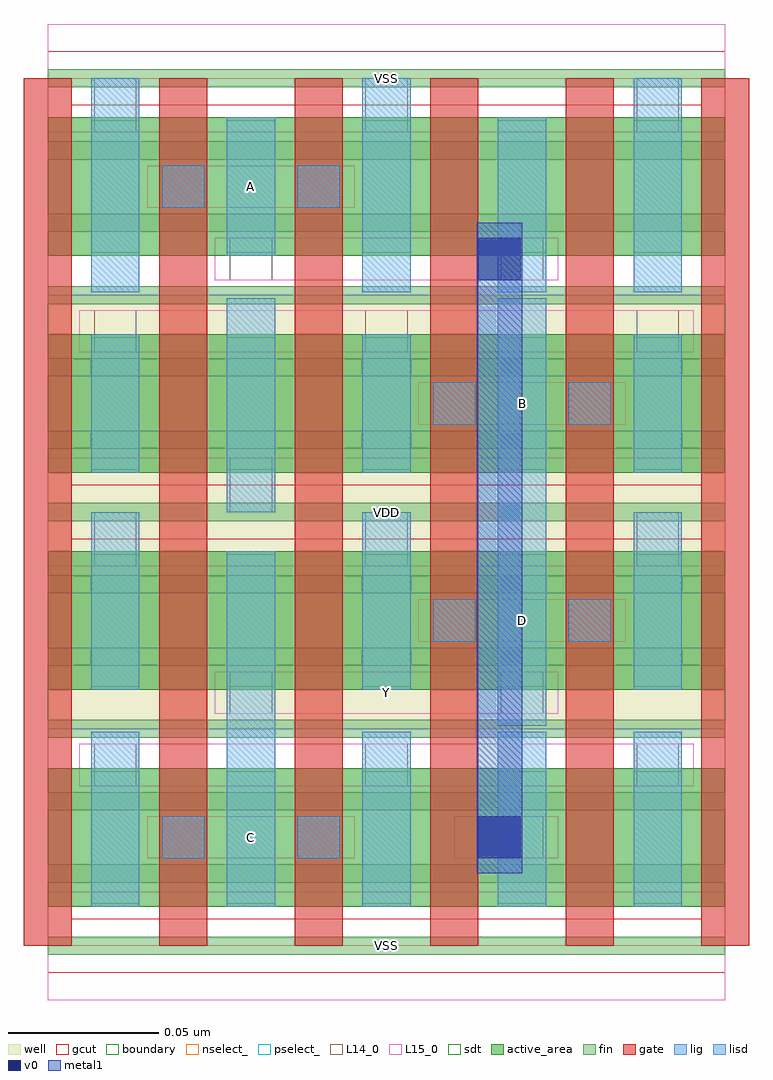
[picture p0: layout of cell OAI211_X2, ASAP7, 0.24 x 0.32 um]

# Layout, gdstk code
import gdstk
lib = gdstk.Library(unit=1e-6, precision=2.5e-10)
def R(c, l, rs):  # rectangles x0, y0, x1, y1
    for r in rs: c.add(gdstk.rectangle(r[:2], r[2:], *l))
def A(c, l, x, y, w, h, nx, ny, dx, dy):  # array of equal rectangles
    R(c, l, [(x+i*dx, y+j*dy, x+i*dx+w, y+j*dy+h) for i in range(nx) for j in range(ny)])
def P(c, l, *ps):  # polygons
    for p in ps: c.add(gdstk.Polygon(p, *l))
well = (1, 0)
fin = (2, 0)
gate = (7, 0)
gcut = (10, 0)
active_area = (11, 0)
nselect_ = (12, 0)
pselect_ = (13, 0)
L14_0 = (14, 0)
L15_0 = (15, 0)
lig = (16, 0)
lisd = (17, 0)
v0 = (18, 0)
metal1 = (19, 0)
sdt = (88, 0)
boundary = (100, 0)

oai211_x2 = lib.new_cell('OAI211_X2')
R(oai211_x2, well, [(0,0.072,0.225,0.144), (0,0.144,0.225,0.216)])
A(oai211_x2, fin, 0, -0.003, 0.225, 0.006, 1, 13, 0, 0.024)
A(oai211_x2, gate, -0.008, 0, 0.016, 0.288, 6, 1, 0.045, 0)
P(oai211_x2, gcut, [(0,-0.009),(0,0),(-0.008,0),(-0.008,0.135),(0.008,0.135),(0.008,0.009),(0.217,0.009),(0.217,0.135),(-0.008,0.135),(-0.008,0.279),(0.008,0.279),(0.008,0.153),(0.217,0.153),(0.217,0.279),(-0.008,0.279),(-0.008,0.288),(0,0.288),(0,0.297),(0.225,0.297),(0.225,0.288),(0.233,0.288),(0.233,0),(0.225,0),(0.225,-0.009)])
A(oai211_x2, active_area, 0, 0.013, 0.225, 0.046, 1, 4, 0, 0.072)
R(oai211_x2, nselect_, [(0,0,0.225,0.072), (0,0.216,0.225,0.288)])
R(oai211_x2, pselect_, [(0,0.072,0.225,0.144), (0,0.144,0.225,0.216)])
A(oai211_x2, L14_0, 0.0155, 0.053, 0.014, 0.014, 3, 2, 0.09, 0.144)
A(oai211_x2, L14_0, 0.0155, 0.126, 0.014, 0.018, 3, 2, 0.09, 0.144)
R(oai211_x2, L14_0, [(0.038,0.029,0.052,0.043), (0.083,0.029,0.097,0.043), (0.1505,0.029,0.1645,0.043), (0.0605,0.077,0.0745,0.091), (0.1505,0.077,0.1645,0.091), (0.128,0.101,0.142,0.115), (0.173,0.101,0.187,0.115), (0.0605,0.144,0.0745,0.162), (0.128,0.173,0.142,0.187), (0.173,0.173,0.187,0.187), (0.0605,0.221,0.0745,0.235), (0.1505,0.221,0.1645,0.235), (0.038,0.245,0.052,0.259), (0.083,0.245,0.097,0.259)])
A(oai211_x2, L15_0, 0, -0.018, 0.225, 0.036, 1, 3, 0, 0.144)
R(oai211_x2, L15_0, [(0.033,0.029,0.102,0.043), (0.135,0.029,0.1695,0.043), (0.0105,0.053,0.2145,0.067), (0.0555,0.077,0.1695,0.091), (0.123,0.101,0.192,0.115), (0.123,0.173,0.192,0.187), (0.0105,0.197,0.2145,0.211), (0.0555,0.221,0.1695,0.235), (0.033,0.245,0.102,0.259)])
R(oai211_x2, lig, [(0.038,0.029,0.052,0.043), (0.083,0.029,0.097,0.043), (0.128,0.101,0.142,0.115), (0.173,0.101,0.187,0.115), (0.128,0.173,0.142,0.187), (0.173,0.173,0.187,0.187), (0.038,0.245,0.052,0.259), (0.083,0.245,0.097,0.259)])
A(oai211_x2, lisd, 0.1045, 0.013, 0.016, 0.058, 3, 1, 0.045, 0)
A(oai211_x2, lisd, 0.0145, 0.085, 0.016, 0.059, 3, 1, 0.09, 0)
A(oai211_x2, lisd, 0.0145, 0.157, 0.016, 0.046, 3, 1, 0.09, 0)
A(oai211_x2, lisd, 0.0145, 0.217, 0.016, 0.071, 3, 1, 0.09, 0)
R(oai211_x2, lisd, [(0.0145,0.013,0.0305,0.071), (0.0595,0.013,0.0755,0.131), (0.1495,0.073,0.1655,0.215), (0.0595,0.144,0.0755,0.215), (0.1495,0.217,0.1655,0.275), (0.0595,0.229,0.0755,0.275)])
R(oai211_x2, v0, [(0.143,0.029,0.157,0.043), (0.143,0.221,0.157,0.235)])
R(oai211_x2, metal1, [(0.1425,0.024,0.1575,0.24)])
A(oai211_x2, sdt, 0.0145, 0.014, 0.016, 0.044, 5, 4, 0.045, 0.072)
R(oai211_x2, boundary, [(0,0,0.225,0.288)])
oai211_x2.add(gdstk.Label('B', (0.1575,0.18), layer=15, texttype=251))
oai211_x2.add(gdstk.Label('VSS', (0.1125,0), layer=15, texttype=251))
oai211_x2.add(gdstk.Label('VDD', (0.1125,0.144), layer=15, texttype=251))
oai211_x2.add(gdstk.Label('VDD', (0.1125,0.144), layer=15, texttype=251))
oai211_x2.add(gdstk.Label('VSS', (0.1125,0.288), layer=15, texttype=251))
oai211_x2.add(gdstk.Label('A', (0.0675,0.252), layer=15, texttype=251))
oai211_x2.add(gdstk.Label('VSS', (0.1125,0), layer=15, texttype=251))
oai211_x2.add(gdstk.Label('VDD', (0.1125,0.144), layer=15, texttype=251))
oai211_x2.add(gdstk.Label('VDD', (0.1125,0.144), layer=15, texttype=251))
oai211_x2.add(gdstk.Label('VSS', (0.1125,0.288), layer=15, texttype=251))
oai211_x2.add(gdstk.Label('Y', (0.1125,0.084), layer=15, texttype=251))
oai211_x2.add(gdstk.Label('VSS', (0.1125,0), layer=15, texttype=251))
oai211_x2.add(gdstk.Label('VDD', (0.1125,0.144), layer=15, texttype=251))
oai211_x2.add(gdstk.Label('VDD', (0.1125,0.144), layer=15, texttype=251))
oai211_x2.add(gdstk.Label('VSS', (0.1125,0.288), layer=15, texttype=251))
oai211_x2.add(gdstk.Label('D', (0.1575,0.108), layer=15, texttype=251))
oai211_x2.add(gdstk.Label('VSS', (0.1125,0), layer=15, texttype=251))
oai211_x2.add(gdstk.Label('VDD', (0.1125,0.144), layer=15, texttype=251))
oai211_x2.add(gdstk.Label('VDD', (0.1125,0.144), layer=15, texttype=251))
oai211_x2.add(gdstk.Label('VSS', (0.1125,0.288), layer=15, texttype=251))
oai211_x2.add(gdstk.Label('C', (0.0675,0.036), layer=15, texttype=251))
oai211_x2.add(gdstk.Label('VSS', (0.1125,0), layer=15, texttype=251))
oai211_x2.add(gdstk.Label('VDD', (0.1125,0.144), layer=15, texttype=251))
oai211_x2.add(gdstk.Label('VDD', (0.1125,0.144), layer=15, texttype=251))
oai211_x2.add(gdstk.Label('VSS', (0.1125,0.288), layer=15, texttype=251))
oai211_x2.add(gdstk.Label('VSS', (0.1125,0), layer=3, texttype=251))
oai211_x2.add(gdstk.Label('VSS', (0.1125,0.288), layer=3, texttype=251))
oai211_x2.add(gdstk.Label('VSS', (0.1125,0), layer=3, texttype=251))
oai211_x2.add(gdstk.Label('VSS', (0.1125,0.288), layer=3, texttype=251))
oai211_x2.add(gdstk.Label('VSS', (0.1125,0), layer=3, texttype=251))
oai211_x2.add(gdstk.Label('VSS', (0.1125,0.288), layer=3, texttype=251))
oai211_x2.add(gdstk.Label('VSS', (0.1125,0), layer=3, texttype=251))
oai211_x2.add(gdstk.Label('VSS', (0.1125,0.288), layer=3, texttype=251))
oai211_x2.add(gdstk.Label('VSS', (0.1125,0), layer=3, texttype=251))
oai211_x2.add(gdstk.Label('VSS', (0.1125,0.288), layer=3, texttype=251))
oai211_x2.add(gdstk.Label('VDD', (0.1125,0.144), layer=1, texttype=251))
oai211_x2.add(gdstk.Label('VDD', (0.1125,0.144), layer=1, texttype=251))
oai211_x2.add(gdstk.Label('VDD', (0.1125,0.144), layer=1, texttype=251))
oai211_x2.add(gdstk.Label('VDD', (0.1125,0.144), layer=1, texttype=251))
oai211_x2.add(gdstk.Label('VDD', (0.1125,0.144), layer=1, texttype=251))
oai211_x2.add(gdstk.Label('VDD', (0.1125,0.144), layer=1, texttype=251))
oai211_x2.add(gdstk.Label('VDD', (0.1125,0.144), layer=1, texttype=251))
oai211_x2.add(gdstk.Label('VDD', (0.1125,0.144), layer=1, texttype=251))
oai211_x2.add(gdstk.Label('VDD', (0.1125,0.144), layer=1, texttype=251))
oai211_x2.add(gdstk.Label('VDD', (0.1125,0.144), layer=1, texttype=251))

lib.write_gds('OAI211_X2.gds')
